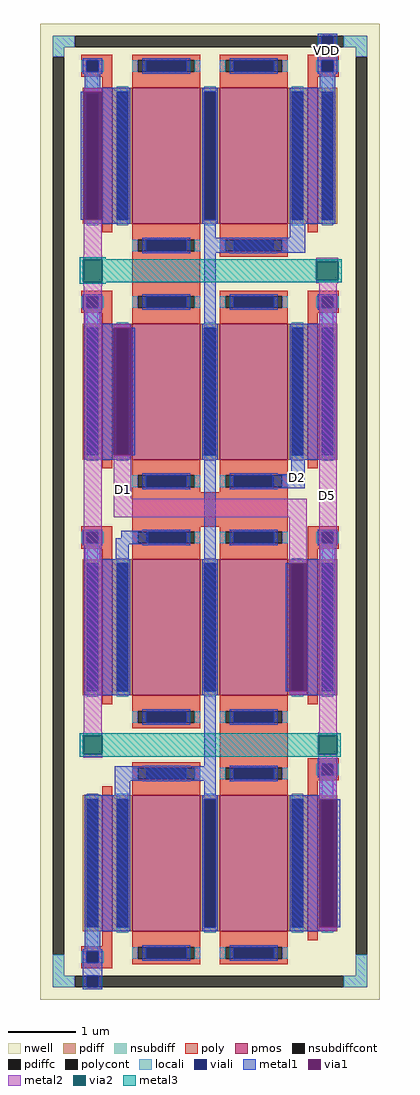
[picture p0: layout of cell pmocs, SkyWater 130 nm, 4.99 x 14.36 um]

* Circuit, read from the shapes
.subckt pmocs VDD D5 D2 D1
XM1 VDD VDD VDD VDD sky130_fd_pr__pfet_01v8 w=2 l=0.15 m=2
XM2 D2 D2 D2 VDD sky130_fd_pr__pfet_01v8 w=2 l=0.15 m=2
XM3 D1 D1 D1 VDD sky130_fd_pr__pfet_01v8 w=2 l=0.15 m=2
XM4 D5 D5 D5 VDD sky130_fd_pr__pfet_01v8 w=2 l=0.15 m=2
XM5 VDD VDD VDD VDD sky130_fd_pr__pfet_01v8 w=2 l=1 m=2
XM6 VDD D2 D2 VDD sky130_fd_pr__pfet_01v8 w=2 l=1 m=2
XM7 VDD D2 D1 VDD sky130_fd_pr__pfet_01v8 w=2 l=1 m=2
XM8 VDD D2 D5 VDD sky130_fd_pr__pfet_01v8 w=2 l=1 m=2
.ends

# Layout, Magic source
magic
tech sky130A
magscale 1 2
<< nwell >>
rect -184 -877 814 1995
<< nsubdiff >>
rect -148 1925 -83 1959
rect 709 1925 778 1959
rect -148 1897 -114 1925
rect 744 1897 778 1925
rect -148 -807 -114 -745
rect 744 -807 778 -745
rect -148 -841 -83 -807
rect 709 -841 778 -807
<< nsubdiffcont >>
rect -83 1925 709 1959
rect -148 -745 -114 1897
rect 744 -745 778 1897
rect -83 -841 709 -807
<< poly >>
rect -64 1887 28 1903
rect -64 1853 -48 1887
rect -14 1853 28 1887
rect -64 1838 28 1853
rect -2 1818 28 1838
rect 602 1887 694 1903
rect 602 1853 644 1887
rect 678 1853 694 1887
rect 602 1838 694 1853
rect 602 1818 632 1838
rect -64 1193 28 1209
rect 86 1208 286 1310
rect -64 1159 -48 1193
rect -14 1159 28 1193
rect -64 1144 28 1159
rect -2 1124 28 1144
rect 602 1193 694 1209
rect 602 1159 644 1193
rect 678 1159 694 1193
rect 602 1144 694 1159
rect 602 1126 632 1144
rect -64 499 28 515
rect 86 514 544 616
rect -64 465 -48 499
rect -14 465 28 499
rect -64 450 28 465
rect -2 430 28 450
rect 602 499 694 515
rect 602 465 644 499
rect 678 465 694 499
rect 602 450 694 465
rect 602 430 632 450
rect 344 -180 544 -78
rect 602 -183 694 -167
rect 602 -217 644 -183
rect 678 -217 694 -183
rect 602 -232 694 -217
rect 602 -250 632 -232
rect -2 -720 28 -702
rect -64 -735 28 -720
rect -64 -769 -48 -735
rect -14 -769 28 -735
rect -64 -785 28 -769
<< polycont >>
rect -48 1853 -14 1887
rect 644 1853 678 1887
rect -48 1159 -14 1193
rect 644 1159 678 1193
rect -48 465 -14 499
rect 644 465 678 499
rect 644 -217 678 -183
rect -48 -769 -14 -735
<< locali >>
rect -148 1925 -83 1959
rect 709 1925 778 1959
rect -148 1897 -114 1925
rect 744 1897 778 1925
rect -64 1853 -48 1887
rect -14 1853 2 1887
rect 628 1853 644 1887
rect 678 1853 694 1887
rect -48 1790 -14 1853
rect 644 1788 678 1853
rect -64 1159 -48 1193
rect -14 1159 2 1193
rect 628 1159 644 1193
rect 678 1159 694 1193
rect -48 1096 -14 1159
rect 644 1094 678 1159
rect -64 465 -48 499
rect -14 465 2 499
rect 628 465 644 499
rect 678 465 694 499
rect -48 402 -14 465
rect 644 402 678 465
rect 628 -217 644 -183
rect 678 -217 694 -183
rect -48 -290 -14 -275
rect 644 -291 678 -217
rect -48 -735 -14 -661
rect -148 -807 -114 -745
rect -64 -769 -48 -735
rect -14 -769 2 -735
rect 744 -807 778 -745
rect -148 -841 -83 -807
rect 709 -841 778 -807
<< viali >>
rect 644 1925 678 1959
rect -48 1853 -14 1887
rect 644 1853 678 1887
rect -48 1159 -14 1193
rect 644 1159 678 1193
rect -48 465 -14 499
rect 644 465 678 499
rect 644 -217 678 -183
rect -48 -769 -14 -735
rect -48 -841 -14 -807
<< metal1 >>
rect 632 1959 690 1965
rect 632 1925 644 1959
rect 678 1925 690 1959
rect -60 1887 -2 1893
rect -60 1853 -48 1887
rect -14 1853 -2 1887
rect -60 1847 -2 1853
rect 632 1887 690 1925
rect 632 1853 644 1887
rect 678 1853 690 1887
rect 632 1847 690 1853
rect -54 1806 -8 1847
rect 638 1806 684 1847
rect -54 1794 80 1806
rect -66 1418 -56 1794
rect -4 1418 80 1794
rect -54 1406 80 1418
rect 298 1364 332 1418
rect 550 1406 684 1806
rect 550 1364 596 1406
rect 298 1320 596 1364
rect -60 1193 -2 1199
rect -60 1159 -48 1193
rect -14 1159 -2 1193
rect -60 1153 -2 1159
rect -54 1112 -8 1153
rect -54 1100 80 1112
rect -54 724 32 1100
rect 84 724 94 1100
rect -54 712 80 724
rect -60 499 -2 505
rect -60 465 -48 499
rect -14 465 -2 499
rect 54 481 134 502
rect -60 459 -2 465
rect 38 462 134 481
rect -54 418 -8 459
rect 38 418 76 462
rect -54 18 80 418
rect 298 -190 332 1320
rect 632 1193 690 1199
rect 632 1159 644 1193
rect 678 1159 690 1193
rect 632 1153 690 1159
rect 636 1112 688 1153
rect 550 1084 688 1112
rect 550 712 684 1084
rect 554 668 594 712
rect 498 628 594 668
rect 632 499 690 505
rect 632 465 644 499
rect 678 465 690 499
rect 632 459 690 465
rect 638 418 684 459
rect 550 406 684 418
rect 538 30 548 406
rect 600 30 684 406
rect 550 18 684 30
rect 34 -234 332 -190
rect 632 -183 690 -167
rect 632 -217 644 -183
rect 678 -217 690 -183
rect 632 -223 690 -217
rect -54 -276 -8 -275
rect 34 -276 80 -234
rect -54 -676 80 -276
rect 298 -288 332 -234
rect 636 -276 688 -223
rect 550 -288 688 -276
rect 550 -664 636 -288
rect 688 -664 698 -288
rect 550 -676 684 -664
rect -54 -729 -8 -676
rect -60 -735 -2 -729
rect -60 -769 -48 -735
rect -14 -769 -2 -735
rect -60 -807 -2 -769
rect -60 -841 -48 -807
rect -14 -841 -2 -807
rect -60 -847 -2 -841
<< via1 >>
rect -56 1418 -4 1794
rect 32 724 84 1100
rect 548 30 600 406
rect 636 -664 688 -288
<< metal2 >>
rect -56 1794 -4 1804
rect -56 1312 -4 1418
rect -58 1302 -2 1312
rect -58 1224 -2 1234
rect 628 1296 692 1306
rect 628 1230 692 1240
rect -56 -90 -4 1224
rect 32 1100 84 1110
rect 32 596 84 724
rect 32 542 600 596
rect 548 406 600 542
rect 548 20 600 30
rect 636 -90 688 1230
rect -58 -100 -2 -90
rect -58 -166 -2 -156
rect 634 -100 690 -90
rect 634 -166 690 -156
rect 636 -288 688 -166
rect 636 -674 688 -664
<< via2 >>
rect -58 1234 -2 1302
rect 628 1240 692 1296
rect -58 -156 -2 -100
rect 634 -156 690 -100
<< metal3 >>
rect -68 1302 8 1307
rect -68 1234 -58 1302
rect -2 1296 702 1302
rect -2 1240 628 1296
rect 692 1240 702 1296
rect -2 1234 702 1240
rect -68 1229 8 1234
rect -68 -100 700 -94
rect -68 -156 -58 -100
rect -2 -156 634 -100
rect 690 -156 700 -100
rect -68 -162 700 -156
use sky130_fd_pr__pfet_01v8_2ZH9AN  sky130_fd_pr__pfet_01v8_2ZH9AN_0
transform 1 0 13 0 1 218
box -109 -262 109 262
use sky130_fd_pr__pfet_01v8_2ZH9AN  sky130_fd_pr__pfet_01v8_2ZH9AN_1
transform 1 0 13 0 1 -476
box -109 -262 109 262
use sky130_fd_pr__pfet_01v8_2ZH9AN  sky130_fd_pr__pfet_01v8_2ZH9AN_2
transform 1 0 617 0 1 -476
box -109 -262 109 262
use sky130_fd_pr__pfet_01v8_2ZH9AN  sky130_fd_pr__pfet_01v8_2ZH9AN_3
transform 1 0 617 0 1 218
box -109 -262 109 262
use sky130_fd_pr__pfet_01v8_2ZH9AN  sky130_fd_pr__pfet_01v8_2ZH9AN_4
transform 1 0 617 0 1 912
box -109 -262 109 262
use sky130_fd_pr__pfet_01v8_2ZH9AN  sky130_fd_pr__pfet_01v8_2ZH9AN_5
transform 1 0 617 0 1 1606
box -109 -262 109 262
use sky130_fd_pr__pfet_01v8_2ZH9AN  sky130_fd_pr__pfet_01v8_2ZH9AN_6
transform 1 0 13 0 1 1606
box -109 -262 109 262
use sky130_fd_pr__pfet_01v8_2ZH9AN  sky130_fd_pr__pfet_01v8_2ZH9AN_7
transform 1 0 13 0 1 912
box -109 -262 109 262
use sky130_fd_pr__pfet_01v8_SDE6B7  sky130_fd_pr__pfet_01v8_SDE6B7_0
transform 1 0 315 0 1 1606
box -323 -300 323 300
use sky130_fd_pr__pfet_01v8_SDE6B7  sky130_fd_pr__pfet_01v8_SDE6B7_1
transform 1 0 315 0 1 912
box -323 -300 323 300
use sky130_fd_pr__pfet_01v8_SDE6B7  sky130_fd_pr__pfet_01v8_SDE6B7_2
transform 1 0 315 0 1 218
box -323 -300 323 300
use sky130_fd_pr__pfet_01v8_SDE6B7  sky130_fd_pr__pfet_01v8_SDE6B7_3
transform 1 0 315 0 1 -476
box -323 -300 323 300
<< labels >>
flabel metal1 658 1917 658 1917 0 FreeSans 160 0 0 0 VDD
port 0 nsew
flabel metal2 662 606 662 606 0 FreeSans 160 0 0 0 D5
port 1 nsew
flabel metal1 572 659 572 659 0 FreeSans 160 0 0 0 D2
port 2 nsew
flabel metal2 59 625 59 625 0 FreeSans 160 0 0 0 D1
port 3 nsew
<< end >>

# cell sky130_fd_pr__pfet_01v8_2ZH9AN: kit device sky130_fd_pr__pfet_01v8, w 2 l 0.15 m 1 nf 1 diffcov 100 polycov 100 guard 0 glc 1 grc 1 gtc 1 gbc 1 tbcov 100 rlcov 100 topc 0 botc 0 poverlap 0 doverlap 1 lmin 0.15 wmin 0.42 compatible {sky130_fd_pr__pfet_01v8 sky130_fd_pr__pfet_01v8_lvt sky130_fd_pr__pfet_01v8_hvt sky130_fd_pr__pfet_g5v0d10v5} full_metal 1 viasrc 100 viadrn 100 viagate 100 viagb 0 viagr 0 viagl 0 viagt 0

# cell sky130_fd_pr__pfet_01v8_SDE6B7: kit device sky130_fd_pr__pfet_01v8, w 2 l 1 m 1 nf 2 diffcov 100 polycov 100 guard 0 glc 1 grc 1 gtc 1 gbc 1 tbcov 100 rlcov 100 topc 1 botc 1 poverlap 0 doverlap 1 lmin 0.15 wmin 0.42 compatible {sky130_fd_pr__pfet_01v8 sky130_fd_pr__pfet_01v8_lvt sky130_fd_pr__pfet_01v8_hvt sky130_fd_pr__pfet_g5v0d10v5} full_metal 1 viasrc 100 viadrn 100 viagate 70 viagb 0 viagr 0 viagl 0 viagt 0
